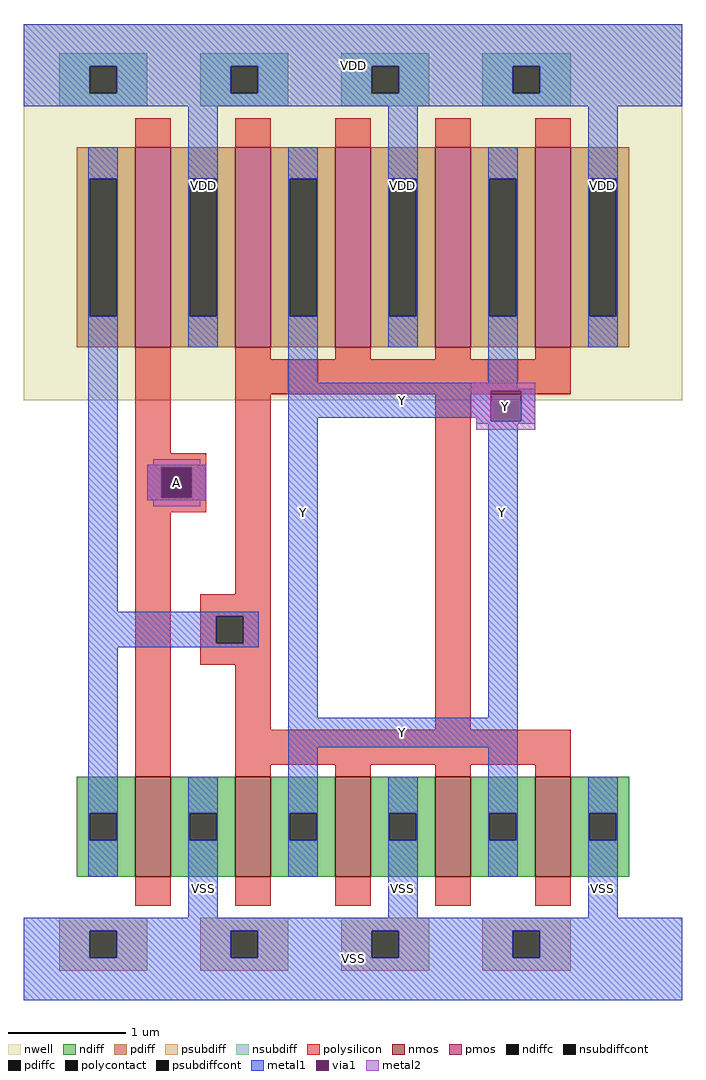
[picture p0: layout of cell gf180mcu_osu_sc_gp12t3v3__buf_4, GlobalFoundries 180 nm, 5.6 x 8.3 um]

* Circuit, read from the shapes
.subckt gf180mcu_osu_sc_gp12t3v3__buf_4 A Y VDD VSS
XM1 VSS A n1 VSS nfet_03v3 w=0.85u l=0.3u
XM2 Y n1 VSS VSS nfet_03v3 w=0.85u l=0.3u m=4
XM3 VDD A n1 VDD pfet_03v3 w=1.7u l=0.3u
XM4 Y n1 VDD VDD pfet_03v3 w=1.7u l=0.3u m=4
.ends

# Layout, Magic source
magic
tech gf180mcuA
magscale 1 10
<< nwell >>
rect 0 1020 1120 1660
<< nmos >>
rect 190 210 250 380
rect 360 210 420 380
rect 530 210 590 380
rect 700 210 760 380
rect 870 210 930 380
<< pmos >>
rect 190 1110 250 1450
rect 360 1110 420 1450
rect 530 1110 590 1450
rect 700 1110 760 1450
rect 870 1110 930 1450
<< ndiff >>
rect 90 318 190 380
rect 90 272 112 318
rect 158 272 190 318
rect 90 210 190 272
rect 250 318 360 380
rect 250 272 282 318
rect 328 272 360 318
rect 250 210 360 272
rect 420 318 530 380
rect 420 272 452 318
rect 498 272 530 318
rect 420 210 530 272
rect 590 318 700 380
rect 590 272 622 318
rect 668 272 700 318
rect 590 210 700 272
rect 760 318 870 380
rect 760 272 792 318
rect 838 272 870 318
rect 760 210 870 272
rect 930 318 1030 380
rect 930 272 962 318
rect 1008 272 1030 318
rect 930 210 1030 272
<< pdiff >>
rect 90 1397 190 1450
rect 90 1163 112 1397
rect 158 1163 190 1397
rect 90 1110 190 1163
rect 250 1397 360 1450
rect 250 1163 282 1397
rect 328 1163 360 1397
rect 250 1110 360 1163
rect 420 1397 530 1450
rect 420 1163 452 1397
rect 498 1163 530 1397
rect 420 1110 530 1163
rect 590 1397 700 1450
rect 590 1163 622 1397
rect 668 1163 700 1397
rect 590 1110 700 1163
rect 760 1397 870 1450
rect 760 1163 792 1397
rect 838 1163 870 1397
rect 760 1110 870 1163
rect 930 1397 1030 1450
rect 930 1163 962 1397
rect 1008 1163 1030 1397
rect 930 1110 1030 1163
<< ndiffc >>
rect 112 272 158 318
rect 282 272 328 318
rect 452 272 498 318
rect 622 272 668 318
rect 792 272 838 318
rect 962 272 1008 318
<< pdiffc >>
rect 112 1163 158 1397
rect 282 1163 328 1397
rect 452 1163 498 1397
rect 622 1163 668 1397
rect 792 1163 838 1397
rect 962 1163 1008 1397
<< psubdiff >>
rect 60 118 210 140
rect 60 72 112 118
rect 158 72 210 118
rect 60 50 210 72
rect 300 118 450 140
rect 300 72 352 118
rect 398 72 450 118
rect 300 50 450 72
rect 540 118 690 140
rect 540 72 592 118
rect 638 72 690 118
rect 540 50 690 72
rect 780 118 930 140
rect 780 72 832 118
rect 878 72 930 118
rect 780 50 930 72
<< nsubdiff >>
rect 60 1588 210 1610
rect 60 1542 112 1588
rect 158 1542 210 1588
rect 60 1520 210 1542
rect 300 1588 450 1610
rect 300 1542 352 1588
rect 398 1542 450 1588
rect 300 1520 450 1542
rect 540 1588 690 1610
rect 540 1542 592 1588
rect 638 1542 690 1588
rect 540 1520 690 1542
rect 780 1588 930 1610
rect 780 1542 832 1588
rect 878 1542 930 1588
rect 780 1520 930 1542
<< psubdiffcont >>
rect 112 72 158 118
rect 352 72 398 118
rect 592 72 638 118
rect 832 72 878 118
<< nsubdiffcont >>
rect 112 1542 158 1588
rect 352 1542 398 1588
rect 592 1542 638 1588
rect 832 1542 878 1588
<< polysilicon >>
rect 190 1450 250 1500
rect 360 1450 420 1500
rect 530 1450 590 1500
rect 700 1450 760 1500
rect 870 1450 930 1500
rect 190 930 250 1110
rect 360 1090 420 1110
rect 530 1090 590 1110
rect 700 1090 760 1110
rect 870 1090 930 1110
rect 360 1030 930 1090
rect 190 903 310 930
rect 190 857 237 903
rect 283 857 310 903
rect 190 830 310 857
rect 190 380 250 830
rect 360 690 420 1030
rect 300 653 420 690
rect 300 607 327 653
rect 373 607 420 653
rect 300 570 420 607
rect 360 460 420 570
rect 700 460 760 1030
rect 360 400 930 460
rect 360 380 420 400
rect 530 380 590 400
rect 700 380 760 400
rect 870 380 930 400
rect 190 160 250 210
rect 360 160 420 210
rect 530 160 590 210
rect 700 160 760 210
rect 870 160 930 210
<< polycontact >>
rect 237 857 283 903
rect 327 607 373 653
<< metal1 >>
rect 0 1588 1120 1660
rect 0 1542 112 1588
rect 158 1542 352 1588
rect 398 1542 592 1588
rect 638 1542 832 1588
rect 878 1542 1120 1588
rect 0 1520 1120 1542
rect 110 1397 160 1450
rect 110 1163 112 1397
rect 158 1163 160 1397
rect 110 660 160 1163
rect 280 1397 330 1520
rect 280 1163 282 1397
rect 328 1163 330 1397
rect 280 1110 330 1163
rect 450 1397 500 1450
rect 450 1163 452 1397
rect 498 1163 500 1397
rect 450 1050 500 1163
rect 620 1397 670 1520
rect 620 1163 622 1397
rect 668 1163 670 1397
rect 620 1110 670 1163
rect 790 1397 840 1450
rect 790 1163 792 1397
rect 838 1163 840 1397
rect 790 1050 840 1163
rect 960 1397 1010 1520
rect 960 1163 962 1397
rect 1008 1163 1010 1397
rect 960 1110 1010 1163
rect 450 1040 840 1050
rect 450 1036 870 1040
rect 450 990 794 1036
rect 210 906 310 910
rect 210 854 234 906
rect 286 854 310 906
rect 210 850 310 854
rect 110 653 400 660
rect 110 607 327 653
rect 373 607 400 653
rect 110 600 400 607
rect 110 318 160 600
rect 450 480 500 990
rect 770 984 794 990
rect 846 984 870 1036
rect 770 980 870 984
rect 790 480 840 980
rect 450 430 840 480
rect 110 272 112 318
rect 158 272 160 318
rect 110 210 160 272
rect 280 318 330 380
rect 280 272 282 318
rect 328 272 330 318
rect 280 140 330 272
rect 450 318 500 430
rect 450 272 452 318
rect 498 272 500 318
rect 450 210 500 272
rect 620 318 670 380
rect 620 272 622 318
rect 668 272 670 318
rect 620 140 670 272
rect 790 318 840 430
rect 790 272 792 318
rect 838 272 840 318
rect 790 210 840 272
rect 960 318 1010 380
rect 960 272 962 318
rect 1008 272 1010 318
rect 960 140 1010 272
rect 0 118 1120 140
rect 0 72 112 118
rect 158 72 352 118
rect 398 72 592 118
rect 638 72 832 118
rect 878 72 1120 118
rect 0 0 1120 72
<< via1 >>
rect 234 903 286 906
rect 234 857 237 903
rect 237 857 283 903
rect 283 857 286 903
rect 234 854 286 857
rect 794 984 846 1036
<< metal2 >>
rect 760 1036 870 1050
rect 760 990 794 1036
rect 770 984 794 990
rect 846 984 870 1036
rect 770 970 870 984
rect 220 910 300 920
rect 210 906 310 910
rect 210 854 234 906
rect 286 854 310 906
rect 210 850 310 854
rect 220 840 300 850
<< labels >>
rlabel via1 s 234 854 286 906 4 A
port 1 nsew signal input
rlabel via1 s 794 984 846 1036 4 Y
port 2 nsew signal output
rlabel metal1 s 280 1110 330 1660 4 VDD
port 3 nsew power bidirectional abutment
rlabel metal1 s 280 0 330 380 4 VSS
port 4 nsew ground bidirectional abutment
rlabel metal1 s 620 1110 670 1660 1 VDD
port 3 nsew power bidirectional abutment
rlabel metal1 s 960 1110 1010 1660 1 VDD
port 3 nsew power bidirectional abutment
rlabel metal1 s 0 1520 1120 1660 1 VDD
port 3 nsew power bidirectional abutment
rlabel metal1 s 620 0 670 380 1 VSS
port 4 nsew ground bidirectional abutment
rlabel metal1 s 960 0 1010 380 1 VSS
port 4 nsew ground bidirectional abutment
rlabel metal1 s 0 0 1120 140 1 VSS
port 4 nsew ground bidirectional abutment
rlabel metal2 s 220 840 300 920 1 A
port 1 nsew signal input
rlabel metal2 s 210 850 310 910 1 A
port 1 nsew signal input
rlabel metal1 s 210 850 310 910 1 A
port 1 nsew signal input
rlabel metal2 s 770 970 870 1050 1 Y
port 2 nsew signal output
rlabel metal2 s 760 990 870 1050 1 Y
port 2 nsew signal output
rlabel metal1 s 450 210 500 1450 1 Y
port 2 nsew signal output
rlabel metal1 s 450 430 840 480 1 Y
port 2 nsew signal output
rlabel metal1 s 450 990 840 1050 1 Y
port 2 nsew signal output
rlabel metal1 s 790 210 840 1450 1 Y
port 2 nsew signal output
rlabel metal1 s 770 980 870 1040 1 Y
port 2 nsew signal output
<< properties >>
string FIXED_BBOX 0 0 1120 1660
string GDS_END 63800
string GDS_FILE $PDKPATH/libs.ref/gf180mcu_osu_sc_gp12t3v3/gds/gf180mcu_osu_sc_gp12t3v3.gds
string GDS_START 56920
string LEFclass CORE
string LEFsite gf180mcu_osu_sc_gp12t3v3
string LEFsymmetry X Y
<< end >>
